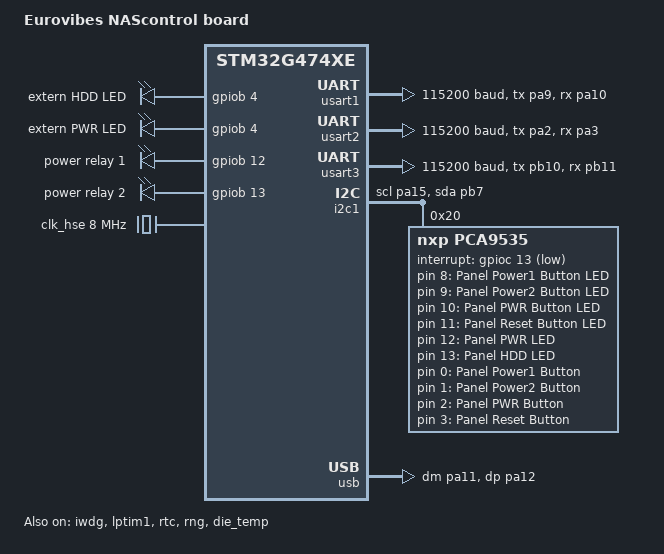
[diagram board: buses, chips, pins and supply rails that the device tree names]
/*
 * Copyright (c) 2023 Benedikt Spranger <b.spranger@linutronix.de>
 *
 * SPDX-License-Identifier: Apache-2.0
 */

/dts-v1/;
#include <st/g4/stm32g474Xe.dtsi>
#include <st/g4/stm32g474c(b-c-e)tx-pinctrl.dtsi>

/ {
	model = "Eurovibes NAScontrol board";
	compatible = "eurovibes,nascontrol";

	aliases {
		watchdog0 = &iwdg;
	};

	chosen {
		zephyr,console = &usart1;
		zephyr,shell-uart = &usart1;
		zephyr,sram = &sram0;
		zephyr,flash = &flash0;
	};

	leds {
		compatible = "gpio-leds";

		/* MCU */
		hddled: led_ext_0 {
			gpios = <&gpiob 4 GPIO_ACTIVE_HIGH>;
			label = "extern HDD LED";
		};
		pwrled: led_ext_1 {
			gpios = <&gpiob 4 GPIO_ACTIVE_HIGH>;
			label = "extern PWR LED";
		};
		power1: relay_1 {
			gpios = <&gpiob 12 GPIO_ACTIVE_HIGH>;
			label = "power relay 1";
		};
		power2: relay_2 {
			gpios = <&gpiob 13 GPIO_ACTIVE_HIGH>;
			label = "power relay 2";
		};

		/* GPIO expander */
		power1_led: led_panel_0 {
			gpios = <&pca9535 8 GPIO_ACTIVE_HIGH>;
			label = "Panel Power1 Button LED";
		};
		power2_led: led_panel_1 {
			gpios = <&pca9535 9 GPIO_ACTIVE_HIGH>;
			label = "Panel Power2 Button LED";
		};
		pwrbtn_led: led_panel_2 {
			gpios = <&pca9535 10 GPIO_ACTIVE_HIGH>;
			label = "Panel PWR Button LED";
		};
		reset_led: led_panel_3 {
			gpios = <&pca9535 11 GPIO_ACTIVE_HIGH>;
			label = "Panel Reset Button LED";
		};
		pwr_led: led_panel_4 {
			gpios = <&pca9535 12 GPIO_ACTIVE_HIGH>;
			label = "Panel PWR LED";
		};
		hdd_led: led_panel_5 {
			gpios = <&pca9535 13 GPIO_ACTIVE_HIGH>;
			label = "Panel HDD LED";
		};
	};

	gpio_keys {
		compatible = "gpio-keys";
		power1_button: button_panel_0 {
			label = "Panel Power1 Button";
			gpios = <&pca9535 0 GPIO_ACTIVE_HIGH>;
		};
		power2_button: button_panel_1 {
			label = "Panel Power2 Button";
			gpios = <&pca9535 1 GPIO_ACTIVE_HIGH>;
		};
		pwrbtn_button: button_panel_2 {
			label = "Panel PWR Button";
			gpios = <&pca9535 2 GPIO_ACTIVE_HIGH>;
		};
		reset_button: button_panel_3 {
			label = "Panel Reset Button";
			gpios = <&pca9535 3 GPIO_ACTIVE_HIGH>;
		};
	};

	cpus {
		cpu@0 {
			cpu-power-states = <&stop0 &stop1>;
		};
	};
};

&clk_lse {
	status = "okay";
};

&clk_hsi48 {
	status = "okay";
};

&clk_hse {
	clock-frequency = <DT_FREQ_M(8)>;
	status = "okay";
};

&iwdg {
	status = "okay";
};

&pll {
	div-m = <2>;
	mul-n = <85>;
	div-r = <2>;
	clocks = <&clk_hse>;
	status = "okay";
};

&rcc {
	clocks = <&pll>;
	clock-frequency = <DT_FREQ_M(170)>;
	ahb-prescaler = <1>;
	apb1-prescaler = <1>;
	apb2-prescaler = <1>;
};

&usart1 {
	pinctrl-0 = <&usart1_tx_pa9 &usart1_rx_pa10>;
	pinctrl-names = "default";
	current-speed = <115200>;
	tx-rx-swap;
	status = "okay";
};

&usart2 {
	pinctrl-0 = <&usart2_tx_pa2 &usart2_rx_pa3>;
	pinctrl-names = "default";
	current-speed = <115200>;
	status = "okay";
};

&usart3 {
	pinctrl-0 = <&usart3_tx_pb10 &usart3_rx_pb11>;
	pinctrl-names = "default";
	current-speed = <115200>;
	status = "okay";
};

&i2c1_scl_pa15 {
	bias-disable;
};

&i2c1_sda_pb7 {
	bias-disable;
};

&i2c1 {
	pinctrl-0 = <&i2c1_scl_pa15 &i2c1_sda_pb7>;
	pinctrl-names = "default";
	status = "okay";

	pca9535: pca9535@20 {
		compatible = "nxp,pca9535", "nxp,pca95xx";
		reg = <0x20>;

		gpio-controller;
		#gpio-cells = <2>;
		ngpios = <16>;
		interrupt-gpios = <&gpioc 13 (GPIO_ACTIVE_LOW | GPIO_OPEN_DRAIN)>;
	};
};

&lptim1 {
	clocks = <&rcc STM32_CLOCK_BUS_APB1 0x80000000>,
		<&rcc STM32_SRC_LSE LPTIM1_SEL(3)>;
	status = "okay";
};

&rtc {
	clocks = <&rcc STM32_CLOCK_BUS_APB1 0x00000400>,
		 <&rcc STM32_SRC_LSE RTC_SEL(1)>;
	status = "okay";
};

&flash0 {
	partitions {
		compatible = "fixed-partitions";
		#address-cells = <1>;
		#size-cells = <1>;

		/* Set 4Kb of storage at the end of the 128Kb of flash */
		storage_partition: partition@1f000 {
			label = "storage";
			reg = <0x0001f000 DT_SIZE_K(4)>;
		};
	};
};

&iwdg {
	status = "okay";
};

&rng {
	status = "okay";
};

&die_temp {
	status = "okay";
};

zephyr_udc0: &usb {
	pinctrl-0 = <&usb_dm_pa11 &usb_dp_pa12>;
	pinctrl-names = "default";
	status = "okay";

	cdc_acm_uart0: cdc_acm_uart0 {
		compatible = "zephyr,cdc-acm-uart";
	};
};
